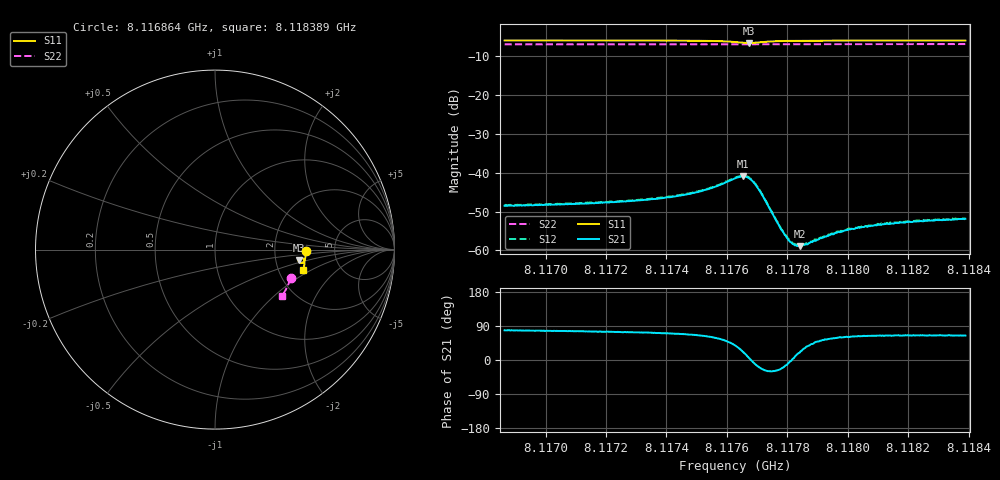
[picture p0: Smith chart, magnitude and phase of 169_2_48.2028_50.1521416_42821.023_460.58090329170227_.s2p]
#  HZ  S  RI  R  50.00
! Rohde & Schwarz Vector Network Analyzer
! Rohde-Schwarz,ZNB20-2Port,1311601062101988,3.16
! Created: UTC 3/20/2024, 11:43:39 AM
! freq[Hz]  re:S11  im:S11  re:S21  im:S21  re:S12  im:S12  re:S22  im:S22
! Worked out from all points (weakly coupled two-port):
!   401 points, 8.116864 GHz to 8.118389 GHz, reference 50 ohm
!   highest |S21| = -40.91 dB at 8.117654 GHz (marker M1); lowest = -58.9 dB at 8.11784 GHz (marker M2)
!   lowest |S11| = -6.6 dB at 8.117673 GHz (marker M3), VSWR 2.77, Z = 135 - j20.4 ohm
!   |S11| at or under -10 dB: nowhere
!   |S22| runs from -6.9 to -6.8 dB; largest |S21 - S12| = 0.00022
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8.1168645e9  0.5062 -0.00656  0.000758 0.00368  0.000823 0.00372  0.4209 -0.1604
8.1171199e9  0.5051 -0.0268  0.000973 0.0039  0.00103 0.00393  0.4149 -0.1772
8.1172647e9  0.5038 -0.0387  0.00121 0.00409  0.00126 0.00418  0.4113 -0.1865
8.1173753e9  0.5022 -0.0485  0.00149 0.00442  0.0016 0.00449  0.4083 -0.1937
8.1174515e9  0.5004 -0.056  0.00189 0.00479  0.00197 0.00485  0.4059 -0.1987
8.1175201e9  0.497 -0.0638  0.0026 0.00525  0.00272 0.00533  0.404 -0.2032
8.117562e9  0.493 -0.0692  0.00347 0.00563  0.00358 0.00571  0.4026 -0.2059
8.1176268e9  0.4779 -0.0746  0.00661 0.0053  0.00679 0.00533  0.4 -0.2099
8.1176535e9  0.4681 -0.0686  0.00838 0.00329  0.00852 0.00326  0.3988 -0.211
8.1176726e9  0.4656 -0.0589  0.00851 0.000852  0.00868 0.000835  0.3983 -0.2117
8.1176878e9  0.4689 -0.0513  0.00754 -0.000897  0.00769 -0.000963  0.3982 -0.2123
8.1177069e9  0.4765 -0.0466  0.00567 -0.00198  0.00576 -0.00208  0.3979 -0.2133
8.1177717e9  0.4939 -0.0534  0.00192 -0.000941  0.00189 -0.00094  0.3968 -0.2178
8.1177984e9  0.4962 -0.0578  0.00142 -0.000334  0.00146 -0.000324  0.396 -0.2195
8.1178174e9  0.4972 -0.0606  0.00121 6.28e-05  0.00124 4.49e-06  0.3954 -0.2209
8.1178403e9  0.498 -0.0639  0.00107 0.000371  0.0011 0.000417  0.3948 -0.2223
8.1178517e9  0.4982 -0.0653  0.00103 0.00056  0.00105 0.000503  0.3944 -0.2232
8.1178822e9  0.4984 -0.069  0.000945 0.00086  0.000968 0.00088  0.3935 -0.2251
8.1179356e9  0.4985 -0.0747  0.000874 0.00127  0.000905 0.00132  0.3916 -0.2285
8.1179966e9  0.4979 -0.0806  0.000881 0.00161  0.000911 0.0016  0.3897 -0.2322
8.1181376e9  0.4963 -0.0928  0.000938 0.00198  0.00102 0.00201  0.3848 -0.241
8.1183892e9  0.4922 -0.1124  0.0011 0.0023  0.00111 0.00231  0.3758 -0.2561
